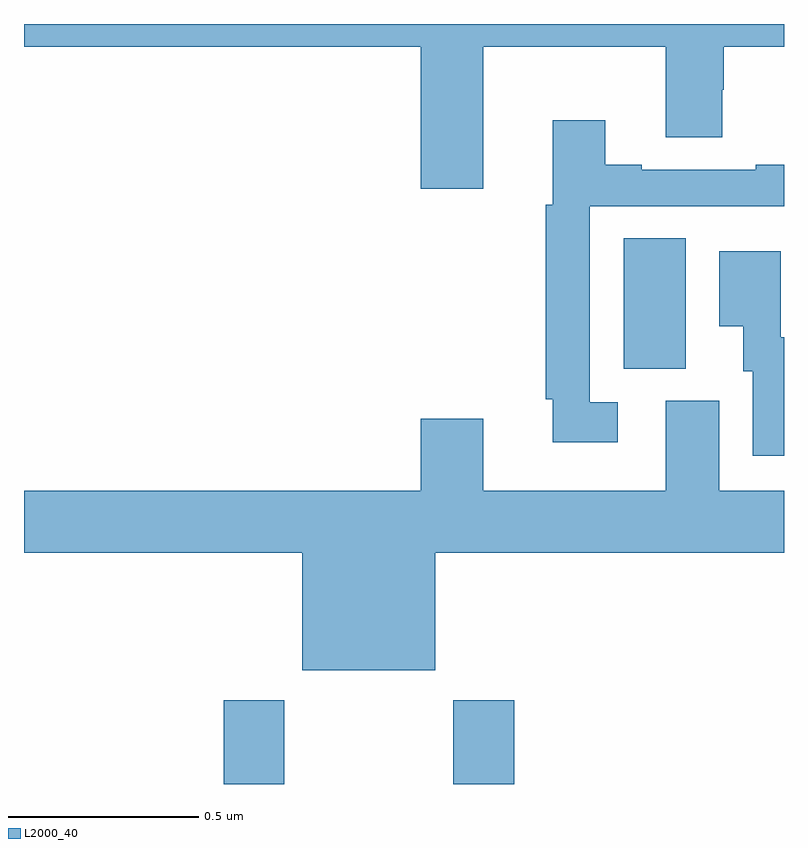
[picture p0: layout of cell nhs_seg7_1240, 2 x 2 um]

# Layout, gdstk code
import gdstk
lib = gdstk.Library(unit=1e-6, precision=1e-09)
def R(c, l, rs):  # rectangles x0, y0, x1, y1
    for r in rs: c.add(gdstk.rectangle(r[:2], r[2:], *l))
def P(c, l, *ps):  # polygons
    for p in ps: c.add(gdstk.Polygon(p, *l))
L2000_40 = (2000, 40)

nhs_seg7_1240 = lib.new_cell('nhs_seg7_1240')
R(nhs_seg7_1240, L2000_40, [(128.525,1008,128.685,1008.22), (129.13,1008,129.29,1008.22), (129.578,1009.093,129.742,1009.436)])
P(nhs_seg7_1240, L2000_40, [(129.208,1009.94),(129.689,1009.94),(129.689,1009.702),(129.837,1009.702),(129.837,1009.827),(129.842,1009.827),(129.842,1009.94),(130,1009.94),(130,1010),(128,1010),(128,1009.94),(129.044,1009.94),(129.044,1009.566),(129.208,1009.566)],
  [(129.562,1009.005),(129.489,1009.005),(129.489,1009.521),(130,1009.521),(130,1009.63),(129.925,1009.63),(129.925,1009.617),(129.625,1009.617),(129.625,1009.63),(129.529,1009.63),(129.529,1009.747),(129.392,1009.747),(129.392,1009.524),(129.373,1009.524),(129.373,1009.012),(129.392,1009.012),(129.392,1008.9),(129.562,1008.9)],
  [(130,1009.176),(129.991,1009.176),(129.991,1009.402),(129.83,1009.402),(129.83,1009.205),(129.893,1009.205),(129.893,1009.086),(129.918,1009.086),(129.918,1008.864),(130,1008.864)],
  [(129.082,1008.608),(130,1008.608),(130,1008.772),(129.829,1008.772),(129.829,1009.008),(129.689,1009.008),(129.689,1008.772),(129.208,1008.772),(129.208,1008.961),(129.044,1008.961),(129.044,1008.772),(128,1008.772),(128,1008.608),(128.732,1008.608),(128.732,1008.299),(129.082,1008.299)])

lib.write_gds('nhs_seg7_1240.gds')
